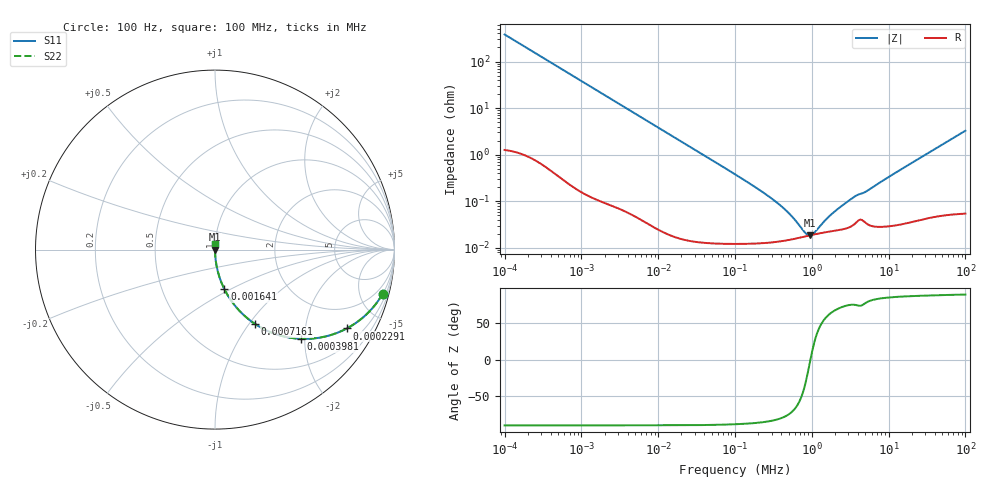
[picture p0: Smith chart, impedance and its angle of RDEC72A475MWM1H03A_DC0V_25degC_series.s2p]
!Murata Part Number: RDEC72A475MWM1H03A
!These Parameters are Measured in Series Mode Connection
!  o--ll--o
!Port1  Port2
!  o------o
!Operation Temp=25[degC], DC Bias Voltage=0[V]
!Freq. Start=100[Hz] Stop=100[MHz], 401[Steps]
!Data Generated on Dec 23, 2019
# Hz S RI R 50
!Freq.(Hz) S11(Real) S11(Imag) S21(Real) S21(Imag) S12(Real) S12(Imag) S22(Real) S22(Imag)
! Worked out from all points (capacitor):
!   401 points, 100 Hz to 100 MHz, reference 50 ohm
!   read as one part in series: C = 4.18 uF near 107.2 Hz
!   lowest |Z| = 18.7 mohm at 944.1 kHz (marker M1)
!   series resonance near 959 kHz, so ESL is about 6.6 nH
!   S11 on the Smith chart (normalised r, x): 100 Hz: 1.03, -7.60; 229.1 Hz: 1.02, -3.33; 398.1 Hz: 1.01, -1.92; 716.1 Hz: 1.00, -1.07; 1.641 kHz: 1.00, -0.47; 100 MHz: 1.00, +0.07
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100  0.9345 -0.2457  0.0655 0.2457  0.0655 0.2457  0.9345 -0.2457
151.3561  0.8623 -0.3424  0.1377 0.3424  0.1377 0.3424  0.8623 -0.3424
229.0868  0.7337 -0.4396  0.2663 0.4396  0.2663 0.4396  0.7337 -0.4396
398.1072  0.4796 -0.4972  0.5204 0.4972  0.5204 0.4972  0.4796 -0.4972
716.1434  0.2231 -0.4143  0.7769 0.4143  0.7769 0.4143  0.2231 -0.4143
1011.579  0.1264 -0.3302  0.8736 0.3302  0.8736 0.3302  0.1264 -0.3302
1640.59  0.0527 -0.2211  0.9473 0.2211  0.9473 0.2211  0.0527 -0.2211
3630.781  0.0117 -0.1045  0.9883 0.1045  0.9883 0.1045  0.0117 -0.1045
10232.93  0.00166 -0.0376  0.9983 0.0376  0.9983 0.0376  0.00166 -0.0376
100000  0.000137 -0.00381  0.9999 0.00381  0.9999 0.00381  0.000137 -0.00381
213796.2  0.000129 -0.0017  0.9999 0.0017  0.9999 0.0017  0.000129 -0.0017
358921.9  0.000137 -0.000906  0.9999 0.000906  0.9999 0.000906  0.000137 -0.000906
543250.3  0.000152 -0.000463  0.9998 0.000463  0.9998 0.000463  0.000152 -0.000463
822242.6  0.000177 -0.000116  0.9998 0.000116  0.9998 0.000116  0.000177 -0.000116
944060.9  0.000186 -1.15e-05  0.9998 1.15e-05  0.9998 1.15e-05  0.000186 -1.15e-05
1011579  0.000191 3.95e-05  0.9998 -3.95e-05  0.9998 -3.95e-05  0.000191 3.95e-05
1640590  0.000223 0.0004  0.9998 -0.0004  0.9998 -0.0004  0.000223 0.0004
2570396  0.000254 0.000808  0.9997 -0.000808  0.9997 -0.000808  0.000254 0.000808
3630781  0.000331 0.00123  0.9997 -0.00123  0.9997 -0.00123  0.000331 0.00123
5128614  0.000338 0.0016  0.9997 -0.0016  0.9997 -0.0016  0.000338 0.0016
1.023293e7  0.000304 0.00339  0.9997 -0.00339  0.9997 -0.00339  0.000304 0.00339
1e8  0.00162 0.0327  0.9984 -0.0327  0.9984 -0.0327  0.00162 0.0327
